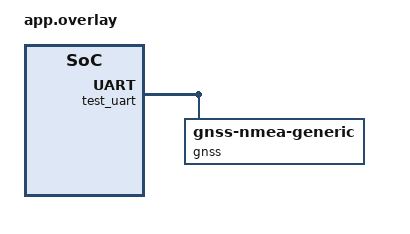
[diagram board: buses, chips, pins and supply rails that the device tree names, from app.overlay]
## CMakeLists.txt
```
# SPDX-License-Identifier: Apache-2.0

cmake_minimum_required(VERSION 3.20.0)
find_package(Zephyr REQUIRED HINTS $ENV{ZEPHYR_BASE})
project(build_all)

FILE(GLOB app_sources src/*.c)
target_sources(app PRIVATE ${app_sources})
```

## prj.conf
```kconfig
CONFIG_SERIAL=y
CONFIG_UART_INTERRUPT_DRIVEN=y
CONFIG_GNSS=y
```

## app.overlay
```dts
/*
 * Copyright 2023 Google LLC
 *
 * SPDX-License-Identifier: Apache-2.0
 */

/ {
	test {
		#address-cells = <1>;
		#size-cells = <1>;

		test_uart: uart@0 {
			compatible = "vnd,serial";
			reg = <0x0 0x1000>;
			status = "okay";

			gnss: gnss-nmea-generic {
				compatible = "gnss-nmea-generic";
			};
		};
	};
};
```

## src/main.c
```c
/*
 * Copyright 2023 Google LLC
 *
 * SPDX-License-Identifier: Apache-2.0
 */

int main(void)
{
	return 0;
}
```
